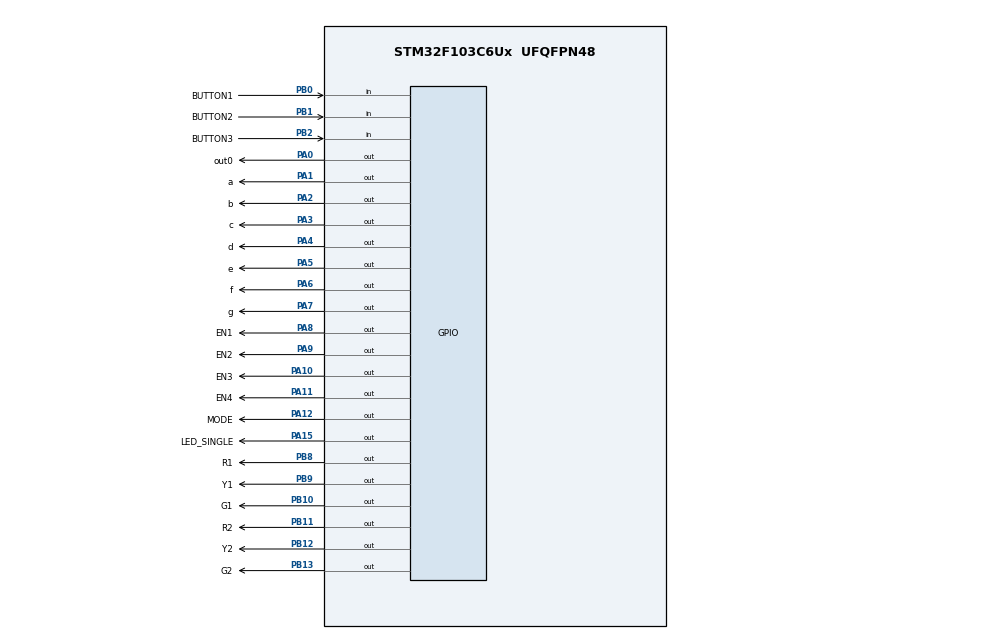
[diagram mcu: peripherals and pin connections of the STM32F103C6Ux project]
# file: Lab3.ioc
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Mcu.Family=STM32F1
Mcu.Name=STM32F103C6Ux
Mcu.Package=UFQFPN48
NVIC.PriorityGroup=NVIC_PRIORITYGROUP_4
NVIC.TIM2_IRQn=true\:0\:0\:false\:false\:true\:true\:true
PA0-WKUP.GPIO_Label=out0
PA0-WKUP.Signal=GPIO_Output
PA1.GPIO_Label=a
PA1.Signal=GPIO_Output
PA10.GPIO_Label=EN3
PA10.Signal=GPIO_Output
PA11.GPIO_Label=EN4
PA11.Signal=GPIO_Output
PA12.GPIO_Label=MODE
PA12.Signal=GPIO_Output
PA15.GPIO_Label=LED_SINGLE
PA15.Signal=GPIO_Output
PA2.GPIO_Label=b
PA2.Signal=GPIO_Output
PA3.GPIO_Label=c
PA3.Signal=GPIO_Output
PA4.GPIO_Label=d
PA4.Signal=GPIO_Output
PA5.GPIO_Label=e
PA5.Signal=GPIO_Output
PA6.GPIO_Label=f
PA6.Signal=GPIO_Output
PA7.GPIO_Label=g
PA7.Signal=GPIO_Output
PA8.GPIO_Label=EN1
PA8.Signal=GPIO_Output
PA9.GPIO_Label=EN2
PA9.Signal=GPIO_Output
PB0.GPIO_Label=BUTTON1
PB0.Signal=GPIO_Input
PB1.GPIO_Label=BUTTON2
PB1.Signal=GPIO_Input
PB10.GPIO_Label=G1
PB10.Signal=GPIO_Output
PB11.GPIO_Label=R2
PB11.Signal=GPIO_Output
PB12.GPIO_Label=Y2
PB12.Signal=GPIO_Output
PB13.GPIO_Label=G2
PB13.Signal=GPIO_Output
PB2.GPIO_Label=BUTTON3
PB2.Signal=GPIO_Input
PB8.GPIO_Label=R1
PB8.Signal=GPIO_Output
PB9.GPIO_Label=Y1
PB9.Signal=GPIO_Output
ProjectManager.HeapSize=0x200
ProjectManager.StackSize=0x400
ProjectManager.TargetToolchain=STM32CubeIDE
RCC.APB1Freq_Value=8000000
RCC.APB2Freq_Value=8000000
TIM2.Period=9
TIM2.Prescaler=7999
VP_SYS_VS_ND.Mode=No_Debug
VP_TIM2_VS_ClockSourceINT.Mode=Internal
board=custom

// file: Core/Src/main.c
/* USER CODE BEGIN Header */
/**
  ******************************************************************************
  * @file           : main.c
  * @brief          : Main program body
  ******************************************************************************
  * @attention
  *
  * <h2><center>&copy; Copyright (c) 2023 STMicroelectronics.
  * All rights reserved.</center></h2>
  *
  * This software component is licensed by ST under BSD 3-Clause license,
  * the "License"; You may not use this file except in compliance with the
  * License. You may obtain a copy of the License at:
  *                        opensource.org/licenses/BSD-3-Clause
  *
  ******************************************************************************
  */
/* USER CODE END Header */
#include "main.h"

/* USER CODE BEGIN Includes */
#include "initial.h"
#include "led_display.h"
#include "input_processing.h"
#include "input_reading.h"
#include "timer.h"
/* USER CODE END Includes */

TIM_HandleTypeDef htim2;

void SystemClock_Config(void);
static void MX_GPIO_Init(void);
static void MX_TIM2_Init(void);

int main(void)
{

  /* MCU Configuration--------------------------------------------------------*/

  /* Reset of all peripherals, Initializes the Flash interface and the Systick. */
  HAL_Init();

  /* Configure the system clock */
  SystemClock_Config();

  /* Initialize all configured peripherals */
  MX_GPIO_Init();
  MX_TIM2_Init();
  /* USER CODE BEGIN 2 */
  HAL_TIM_Base_Start_IT (& htim2 );
  /* USER CODE END 2 */

  /* Infinite loop */
  /* USER CODE BEGIN WHILE */
  init_buffer();
  LedInitial();
  setTimer0(10);
  setTimer1(10);
  setTimer2(10);
  while (1)
  {
	  fsm_for_input_processing();
	  if (get_timer2_flag()){
		  LEDScanning();
		  setTimer2(10);
	  }
	  LedDispMode();
	  UpdateDurationValue();
	 if (get_timer1_flag()){
		  HAL_GPIO_TogglePin(LED_SINGLE_GPIO_Port,LED_SINGLE_Pin);
		  setTimer1(500);
	  }
    /* USER CODE END WHILE */

  }
}

void SystemClock_Config(void)
{
  RCC_OscInitTypeDef RCC_OscInitStruct = {0};
  RCC_ClkInitTypeDef RCC_ClkInitStruct = {0};

  /** Initializes the RCC Oscillators according to the specified parameters
  * in the RCC_OscInitTypeDef structure.
  */
  RCC_OscInitStruct.OscillatorType = RCC_OSCILLATORTYPE_HSI;
  RCC_OscInitStruct.HSIState = RCC_HSI_ON;
  RCC_OscInitStruct.HSICalibrationValue = RCC_HSICALIBRATION_DEFAULT;
  RCC_OscInitStruct.PLL.PLLState = RCC_PLL_NONE;
  if (HAL_RCC_OscConfig(&RCC_OscInitStruct) != HAL_OK)
  {
    Error_Handler();
  }
  /** Initializes the CPU, AHB and APB buses clocks
  */
  RCC_ClkInitStruct.ClockType = RCC_CLOCKTYPE_HCLK|RCC_CLOCKTYPE_SYSCLK
                              |RCC_CLOCKTYPE_PCLK1|RCC_CLOCKTYPE_PCLK2;
  RCC_ClkInitStruct.SYSCLKSource = RCC_SYSCLKSOURCE_HSI;
  RCC_ClkInitStruct.AHBCLKDivider = RCC_SYSCLK_DIV1;
  RCC_ClkInitStruct.APB1CLKDivider = RCC_HCLK_DIV1;
  RCC_ClkInitStruct.APB2CLKDivider = RCC_HCLK_DIV1;

  if (HAL_RCC_ClockConfig(&RCC_ClkInitStruct, FLASH_LATENCY_0) != HAL_OK)
  {
    Error_Handler();
  }
}

static void MX_TIM2_Init(void)
{

  TIM_ClockConfigTypeDef sClockSourceConfig = {0};
  TIM_MasterConfigTypeDef sMasterConfig = {0};

  htim2.Instance = TIM2;
  htim2.Init.Prescaler = 7999;
  htim2.Init.CounterMode = TIM_COUNTERMODE_UP;
  htim2.Init.Period = 9;
  htim2.Init.ClockDivision = TIM_CLOCKDIVISION_DIV1;
  htim2.Init.AutoReloadPreload = TIM_AUTORELOAD_PRELOAD_DISABLE;
  if (HAL_TIM_Base_Init(&htim2) != HAL_OK)
  {
    Error_Handler();
  }
  sClockSourceConfig.ClockSource = TIM_CLOCKSOURCE_INTERNAL;
  if (HAL_TIM_ConfigClockSource(&htim2, &sClockSourceConfig) != HAL_OK)
  {
    Error_Handler();
  }
  sMasterConfig.MasterOutputTrigger = TIM_TRGO_RESET;
  sMasterConfig.MasterSlaveMode = TIM_MASTERSLAVEMODE_DISABLE;
  if (HAL_TIMEx_MasterConfigSynchronization(&htim2, &sMasterConfig) != HAL_OK)
  {
    Error_Handler();
  }

}

static void MX_GPIO_Init(void)
{
  GPIO_InitTypeDef GPIO_InitStruct = {0};

  /* GPIO Ports Clock Enable */
  __HAL_RCC_GPIOA_CLK_ENABLE();
  __HAL_RCC_GPIOB_CLK_ENABLE();

  /*Configure GPIO pin Output Level */
  HAL_GPIO_WritePin(GPIOA, out0_Pin|a_Pin|b_Pin|c_Pin
                          |d_Pin|e_Pin|f_Pin|g_Pin
                          |EN1_Pin|EN2_Pin|EN3_Pin|EN4_Pin
                          |MODE_Pin|LED_SINGLE_Pin, GPIO_PIN_RESET);

  /*Configure GPIO pin Output Level */
  HAL_GPIO_WritePin(GPIOB, G1_Pin|R2_Pin|Y2_Pin|G2_Pin
                          |R1_Pin|Y1_Pin, GPIO_PIN_RESET);

  /*Configure GPIO pins : out0_Pin a_Pin b_Pin c_Pin
                           d_Pin e_Pin f_Pin g_Pin
                           EN1_Pin EN2_Pin EN3_Pin EN4_Pin
                           MODE_Pin LED_SINGLE_Pin */
  GPIO_InitStruct.Pin = out0_Pin|a_Pin|b_Pin|c_Pin
                          |d_Pin|e_Pin|f_Pin|g_Pin
                          |EN1_Pin|EN2_Pin|EN3_Pin|EN4_Pin
                          |MODE_Pin|LED_SINGLE_Pin;
  GPIO_InitStruct.Mode = GPIO_MODE_OUTPUT_PP;
  GPIO_InitStruct.Pull = GPIO_NOPULL;
  GPIO_InitStruct.Speed = GPIO_SPEED_FREQ_LOW;
  HAL_GPIO_Init(GPIOA, &GPIO_InitStruct);

  /*Configure GPIO pins : BUTTON1_Pin BUTTON2_Pin BUTTON3_Pin */
  GPIO_InitStruct.Pin = BUTTON1_Pin|BUTTON2_Pin|BUTTON3_Pin;
  GPIO_InitStruct.Mode = GPIO_MODE_INPUT;
  GPIO_InitStruct.Pull = GPIO_NOPULL;
  HAL_GPIO_Init(GPIOB, &GPIO_InitStruct);

  /*Configure GPIO pins : G1_Pin R2_Pin Y2_Pin G2_Pin
                           R1_Pin Y1_Pin */
  GPIO_InitStruct.Pin = G1_Pin|R2_Pin|Y2_Pin|G2_Pin
                          |R1_Pin|Y1_Pin;
  GPIO_InitStruct.Mode = GPIO_MODE_OUTPUT_PP;
  GPIO_InitStruct.Pull = GPIO_NOPULL;
  GPIO_InitStruct.Speed = GPIO_SPEED_FREQ_LOW;
  HAL_GPIO_Init(GPIOB, &GPIO_InitStruct);

}

void Error_Handler(void)
{
  __disable_irq();
  while (1)
  {
  }
}

/************************ (C) COPYRIGHT STMicroelectronics *****END OF FILE****/
